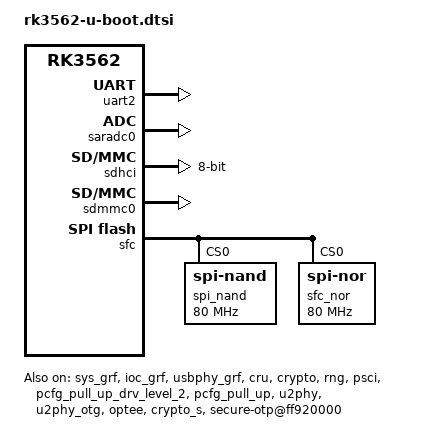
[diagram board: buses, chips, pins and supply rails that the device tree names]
/*
 * (C) Copyright 2022 Rockchip Electronics Co., Ltd
 *
 * SPDX-License-Identifier:     GPL-2.0+
 */

/ {
	aliases {
		mmc0 = &sdhci;
		mmc1 = &sdmmc0;
	};

	chosen {
		stdout-path = &uart2;
		u-boot,spl-boot-order = &sdmmc0, &sdhci, &spi_nand, &spi_nor;
	};

	crypto_s: crypto_s@ff8a8000 {
		compatible = "rockchip,crypto-v4";
		reg = <0x0 0xff8a8000 0x0 0x2000>;
		interrupts = <GIC_SPI 81 IRQ_TYPE_LEVEL_HIGH>;
		clocks = <&scmi_clk CLK_CORE_CRYPTO>, <&scmi_clk CLK_PKA_CRYPTO>,
			 <&scmi_clk ACLK_CRYPTO>, <&scmi_clk HCLK_CRYPTO>,
			 <&scmi_clk PCLK_CRYPTO>;
		clock-names = "sclk", "pka", "aclk", "pclk", "pclk";
		status = "disabled";
	};

	secure-otp@ff920000 {
		compatible = "rockchip,rk3562-secure-otp";
		reg = <0x0 0xff920000 0x0 0x4000>;
		secure_conf = <0xff020034>;
		mask_addr = <0x0>;
		cru_rst_addr = <0xff130438>;
		bootph-all;
		status = "okay";
	};
};

&sys_grf {
	bootph-all;
	status = "okay";
};

&ioc_grf {
	bootph-all;
	status = "okay";
};

&pmu_grf {
	bootph-all;
	status = "okay";
};

&usbphy_grf {
	bootph-all;
	status = "okay";
};

&firmware {
	bootph-all;
};

&scmi {
	bootph-all;
};

&scmi_clk {
	bootph-all;
};

&scmi_shmem {
	bootph-all;
};

&cru {
	bootph-all;
	status = "okay";
};

&crypto {
	bootph-all;
	status = "okay";
};

&crypto_s {
	bootph-all;
	status = "okay";
};

&rng {
	bootph-all;
	status = "okay";
};

&uart2 {
	clock-frequency = <24000000>;
	bootph-all;
	status = "okay";
};

&saradc0 {
	bootph-all;
	status = "okay";
};

&psci {
	bootph-all;
	status = "okay";
};

&sdhci {
	bus-width = <8>;
	bootph-pre-ram;
	bootph-some-ram;
	/delete-property/ pinctrl-names;
	/delete-property/ pinctrl-0;
	mmc-hs400-1_8v;
	mmc-hs400-enhanced-strobe;
	fixed-emmc-driver-type = <1>;
	status = "okay";
};

&sdmmc0 {
	bootph-pre-ram;
	bootph-some-ram;
	pinctrl-names = "default";
	pinctrl-0 = <&sdmmc0_clk &sdmmc0_cmd &sdmmc0_det &sdmmc0_bus4>;
	status = "okay";
};

&sdmmc0_pins {
	bootph-pre-ram;
	bootph-some-ram;
};

&sdmmc0_bus4 {
	bootph-pre-ram;
	bootph-some-ram;
};

&sdmmc0_clk {
	bootph-pre-ram;
	bootph-some-ram;
};

&sdmmc0_cmd {
	bootph-pre-ram;
	bootph-some-ram;
};

&sdmmc0_det {
	bootph-pre-ram;
	bootph-some-ram;
};

&sfc {
	bootph-all;
	status = "okay";

	#address-cells = <1>;
	#size-cells = <0>;
	spi_nand: flash@0 {
		bootph-all;
		compatible = "spi-nand";
		reg = <0>;
		spi-tx-bus-width = <1>;
		spi-rx-bus-width = <4>;
		spi-max-frequency = <80000000>;
	};

	spi_nor: flash@1 {
		bootph-all;
		compatible = "jedec,spi-nor";
		label = "sfc_nor";
		reg = <0>;
		spi-tx-bus-width = <1>;
		spi-rx-bus-width = <4>;
		spi-max-frequency = <80000000>;
	};
};

&pinctrl {
	bootph-all;
	status = "okay";
};

&gpio0 {
	bootph-all;
};

&gpio1 {
	bootph-all;
};

&gpio2 {
	bootph-all;
};

&gpio3 {
	bootph-all;
};

&gpio4 {
	bootph-all;
};

&pcfg_pull_up_drv_level_2 {
	bootph-all;
	status = "okay";
};

&pcfg_pull_up {
	bootph-all;
	status = "okay";
};

&u2phy {
	bootph-all;
	status = "okay";
};

&u2phy_otg {
	bootph-all;
	status = "okay";
};

&optee {
	bootph-all;
	status = "okay";
};
